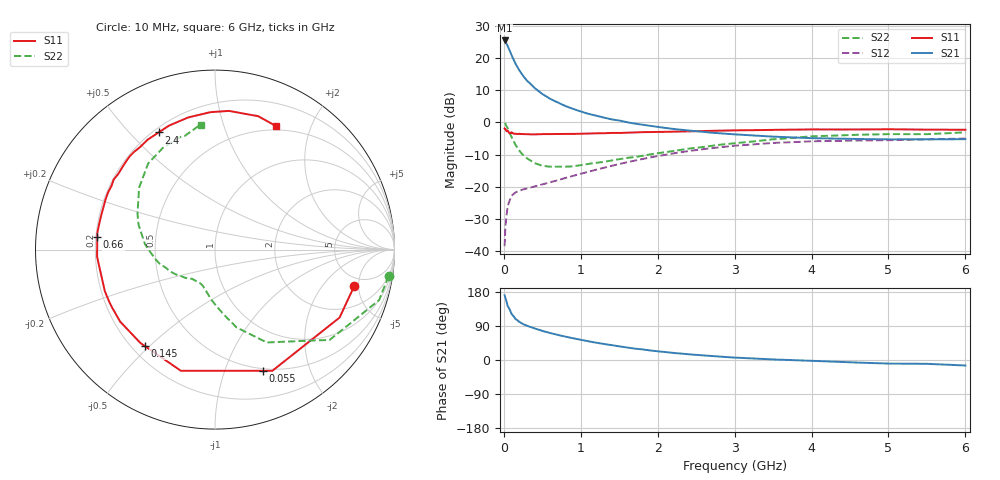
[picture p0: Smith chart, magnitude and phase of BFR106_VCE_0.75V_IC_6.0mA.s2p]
! Infineon Technologies  Discrete & RF Semiconductors
! BFR106
! VCE = 0.75 V,  IC =  6.0 mA
! Common Emitter S-Parameters:  Nov 2015
# GHz  S  MA  R  50
!  f  S11  S21  S12  S22
! GHz  MAG  ANG  MAG  ANG  MAG  ANG  MAG  ANG
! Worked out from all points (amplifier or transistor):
!   210 points, 10 MHz to 6 GHz, reference 50 ohm
!   highest |S21| = 25.5 dB at 10 MHz (marker M1)
!   |S21| within 3 dB of that: start of sweep to 72.33 MHz
!   unconditionally stable (mu >= 1): 550.6 MHz to end of sweep
!   at 185 MHz: K = 0.44, MSG = 19.2 dB, |S12| = -21.4 dB
!   at 1.52 GHz: K = 1.16, MAG = 4.2 dB, |S12| = -12.8 dB
!   at 6 GHz: K = 1.03, MAG = -1.2 dB, |S12| = -5.0 dB
!   S11 on the Smith chart (normalised r, x): 10 MHz: 3.92, -4.45; 55 MHz: 0.48, -1.36; 145 MHz: 0.25, -0.48; 660 MHz: 0.21, +0.05; 2.4 GHz: 0.22, +0.61; 6 GHz: 0.45, +1.52
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0.01  0.8021 -14.6  18.75 170.9  0.0119 84.0  0.9787 -8.7
0.02  0.7907 -28.6  18.28 163.4  0.0234 75.6  0.9567 -17.1
0.05  0.7471 -64.7  15.42 142.5  0.0498 58.3  0.8132 -38.2
0.055  0.7268 -68.3  14.92 141.0  0.0519 56.2  0.7869 -39.9
0.1  0.7015 -105.7  11.09 121.4  0.0726 43.1  0.5927 -60.8
0.145  0.6646 -126.2  8.47 110.2  0.0804 36.5  0.4637 -72.7
0.15  0.666 -128.6  8.206 108.5  0.0813 35.8  0.451 -74.4
0.2  0.6636 -142.8  6.473 100.7  0.0863 33.7  0.3657 -82.3
0.24  0.658 -150.6  5.499 96.0  0.0899 33.0  0.3199 -87.8
0.3  0.656 -159.4  4.456 90.2  0.0936 33.7  0.2766 -94.6
0.4  0.6505 -169.4  3.415 83.0  0.101 35.6  0.2326 -103.0
0.5  0.658 -176.6  2.759 76.8  0.1081 37.9  0.2115 -109.0
0.66  0.6597 174.0  2.148 68.3  0.1222 42.3  0.2044 -117.3
0.8  0.6611 167.9  1.792 61.6  0.1368 45.1  0.2049 -124.4
1.02  0.6654 158.6  1.45 52.4  0.161 48.2  0.2184 -132.4
1.4  0.6862 145.4  1.113 39.3  0.2108 49.9  0.2561 -146.9
2.02  0.7073 126.3  0.843 22.6  0.302 45.4  0.334 -170.5
2.4  0.7246 115.7  0.749 15.0  0.3585 40.2  0.3911 175.6
3.1  0.7526 99.5  0.64 5.4  0.4416 28.3  0.4858 152.3
4.1  0.7754 82.9  0.565 -2.9  0.5097 11.8  0.6119 125.5
5.1  0.7788 71.1  0.544 -9.5  0.5315 -0.8  0.6562 106.6
6  0.7676 63.6  0.548 -14.5  0.5604 -9.7  0.7012 96.6
